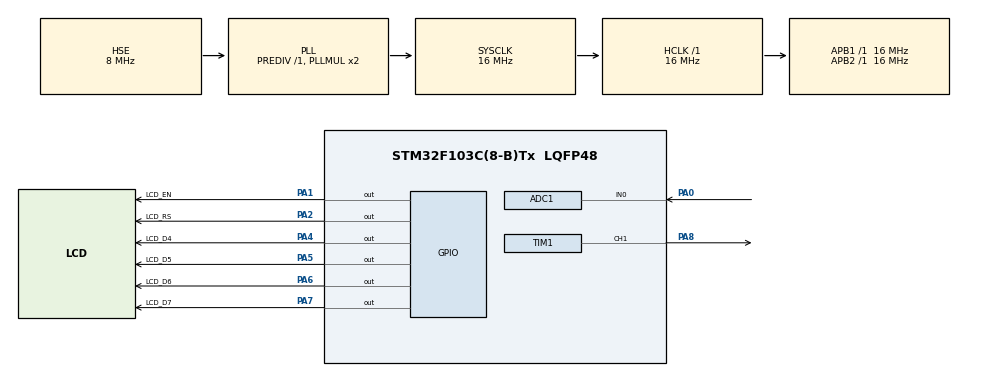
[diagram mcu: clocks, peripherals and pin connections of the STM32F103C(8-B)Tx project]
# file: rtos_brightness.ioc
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Mcu.Family=STM32F1
RCC.PLLSourceVirtual=RCC_PLLSOURCE_HSE
FREERTOS.Tasks01=adcRead,40,128,adc,Default,NULL,Dynamic,NULL,NULL;ledBrightness,24,128,brightness,Default,NULL,Dynamic,NULL,NULL;showDisplay,24,128,show,Default,NULL,Dynamic,NULL,NULL
PD1-OSC_OUT.Mode=HSE-External-Oscillator
PA6.GPIO_Label=LCD_D6
PD0-OSC_IN.Signal=RCC_OSC_IN
ADC1.SamplingTime-2\#ChannelRegularConversion=ADC_SAMPLETIME_1CYCLE_5
RCC.SYSCLKSource=RCC_SYSCLKSOURCE_PLLCLK
ProjectManager.StackSize=0x400
PA0-WKUP.Signal=ADCx_IN0
VP_FREERTOS_VS_CMSIS_V2.Mode=CMSIS_V2
PD1-OSC_OUT.Signal=RCC_OSC_OUT
PA13.Signal=SYS_JTMS-SWDIO
SH.S_TIM1_CH1.0=TIM1_CH1,PWM Generation1 CH1
ProjectManager.TargetToolchain=STM32CubeIDE
RCC.HCLKFreq_Value=16000000
RCC.APB2TimFreq_Value=16000000
ADC1.Channel-2\#ChannelRegularConversion=ADC_CHANNEL_0
RCC.USBFreq_Value=16000000
PA1.Signal=GPIO_Output
RCC.AHBFreq_Value=16000000
PD0-OSC_IN.Mode=HSE-External-Oscillator
PA5.Signal=GPIO_Output
board=custom
RCC.APB2Freq_Value=16000000
ADC1.Rank-2\#ChannelRegularConversion=1
TIM1.Channel-PWM\ Generation1\ CH1=TIM_CHANNEL_1
PA14.Mode=Serial_Wire
PA1.GPIO_Label=LCD_EN
PA8.Signal=S_TIM1_CH1
SH.ADCx_IN0.0=ADC1_IN0,IN0
PA13.Mode=Serial_Wire
Mcu.Name=STM32F103C(8-B)Tx
PA2.Signal=GPIO_Output
PA4.Signal=GPIO_Output
RCC.SYSCLKFreq_VALUE=16000000
Mcu.Package=LQFP48
PA6.Signal=GPIO_Output
PA7.GPIO_Label=LCD_D7
ADC1.master=1
NVIC.TimeBase=TIM4_IRQn
PA5.GPIO_Label=LCD_D5
PA2.GPIO_Label=LCD_RS
NVIC.TimeBaseIP=TIM4
PA14.Signal=SYS_JTCK-SWCLK
ProjectManager.HeapSize=0x200
VP_SYS_VS_tim4.Mode=TIM4
NVIC.PriorityGroup=NVIC_PRIORITYGROUP_4
ADC1.NbrOfConversionFlag=1
RCC.APB1TimFreq_Value=16000000
NVIC.TIM4_IRQn=true\:0\:0\:false\:false\:true\:false\:false\:true
RCC.APB1Freq_Value=16000000
PA4.GPIO_Label=LCD_D4
PA7.Signal=GPIO_Output

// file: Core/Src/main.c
/* USER CODE BEGIN Header */
/**
  ******************************************************************************
  * @file           : main.c
  * @brief          : Main program body
  ******************************************************************************
  * @attention
  *
  * <h2><center>&copy; Copyright (c) 2021 STMicroelectronics.
  * All rights reserved.</center></h2>
  *
  * This software component is licensed by ST under BSD 3-Clause license,
  * the "License"; You may not use this file except in compliance with the
  * License. You may obtain a copy of the License at:
  *                        opensource.org/licenses/BSD-3-Clause
  *
  ******************************************************************************
  */
/* USER CODE END Header */
#include "main.h"
#include "cmsis_os.h"
#include "LCD.H"
#include "stdio.h"

uint16_t adcVal;

ADC_HandleTypeDef hadc1;

TIM_HandleTypeDef htim1;

/* Definitions for adcRead */
osThreadId_t adcReadHandle;
const osThreadAttr_t adcRead_attributes = {
  .name = "adcRead",
  .stack_size = 128 * 4,
  .priority = (osPriority_t) osPriorityHigh,
};
/* Definitions for ledBrightness */
osThreadId_t ledBrightnessHandle;
const osThreadAttr_t ledBrightness_attributes = {
  .name = "ledBrightness",
  .stack_size = 128 * 4,
  .priority = (osPriority_t) osPriorityNormal,
};
/* Definitions for showDisplay */
osThreadId_t showDisplayHandle;
const osThreadAttr_t showDisplay_attributes = {
  .name = "showDisplay",
  .stack_size = 128 * 4,
  .priority = (osPriority_t) osPriorityNormal,
};

void SystemClock_Config(void);
static void MX_GPIO_Init(void);
static void MX_ADC1_Init(void);
static void MX_TIM1_Init(void);
void adc(void *argument);
void brightness(void *argument);
void show(void *argument);

int main(void)
{

  /* MCU Configuration--------------------------------------------------------*/

  /* Reset of all peripherals, Initializes the Flash interface and the Systick. */
  HAL_Init();

  /* Configure the system clock */
  SystemClock_Config();

  /* Initialize all configured peripherals */
  MX_GPIO_Init();
  MX_ADC1_Init();
  MX_TIM1_Init();

  /* Init scheduler */
  osKernelInitialize();

  /* Create the thread(s) */
  /* creation of adcRead */
  adcReadHandle = osThreadNew(adc, NULL, &adcRead_attributes);

  /* creation of ledBrightness */
  ledBrightnessHandle = osThreadNew(brightness, NULL, &ledBrightness_attributes);

  /* creation of showDisplay */
  showDisplayHandle = osThreadNew(show, NULL, &showDisplay_attributes);

  /* Start scheduler */
  osKernelStart();

  /* We should never get here as control is now taken by the scheduler */
  /* Infinite loop */
  while (1)
  {

  }
}

void SystemClock_Config(void)
{
  RCC_OscInitTypeDef RCC_OscInitStruct = {0};
  RCC_ClkInitTypeDef RCC_ClkInitStruct = {0};
  RCC_PeriphCLKInitTypeDef PeriphClkInit = {0};

  /** Initializes the RCC Oscillators according to the specified parameters
  * in the RCC_OscInitTypeDef structure.
  */
  RCC_OscInitStruct.OscillatorType = RCC_OSCILLATORTYPE_HSE;
  RCC_OscInitStruct.HSEState = RCC_HSE_ON;
  RCC_OscInitStruct.HSEPredivValue = RCC_HSE_PREDIV_DIV1;
  RCC_OscInitStruct.HSIState = RCC_HSI_ON;
  RCC_OscInitStruct.PLL.PLLState = RCC_PLL_ON;
  RCC_OscInitStruct.PLL.PLLSource = RCC_PLLSOURCE_HSE;
  RCC_OscInitStruct.PLL.PLLMUL = RCC_PLL_MUL2;
  if (HAL_RCC_OscConfig(&RCC_OscInitStruct) != HAL_OK)
  {
    Error_Handler();
  }
  /** Initializes the CPU, AHB and APB buses clocks
  */
  RCC_ClkInitStruct.ClockType = RCC_CLOCKTYPE_HCLK|RCC_CLOCKTYPE_SYSCLK
                              |RCC_CLOCKTYPE_PCLK1|RCC_CLOCKTYPE_PCLK2;
  RCC_ClkInitStruct.SYSCLKSource = RCC_SYSCLKSOURCE_PLLCLK;
  RCC_ClkInitStruct.AHBCLKDivider = RCC_SYSCLK_DIV1;
  RCC_ClkInitStruct.APB1CLKDivider = RCC_HCLK_DIV1;
  RCC_ClkInitStruct.APB2CLKDivider = RCC_HCLK_DIV1;

  if (HAL_RCC_ClockConfig(&RCC_ClkInitStruct, FLASH_LATENCY_0) != HAL_OK)
  {
    Error_Handler();
  }
  PeriphClkInit.PeriphClockSelection = RCC_PERIPHCLK_ADC;
  PeriphClkInit.AdcClockSelection = RCC_ADCPCLK2_DIV2;
  if (HAL_RCCEx_PeriphCLKConfig(&PeriphClkInit) != HAL_OK)
  {
    Error_Handler();
  }
}

static void MX_ADC1_Init(void)
{

  ADC_ChannelConfTypeDef sConfig = {0};

  /** Common config
  */
  hadc1.Instance = ADC1;
  hadc1.Init.ScanConvMode = ADC_SCAN_DISABLE;
  hadc1.Init.ContinuousConvMode = DISABLE;
  hadc1.Init.DiscontinuousConvMode = DISABLE;
  hadc1.Init.ExternalTrigConv = ADC_SOFTWARE_START;
  hadc1.Init.DataAlign = ADC_DATAALIGN_RIGHT;
  hadc1.Init.NbrOfConversion = 1;
  if (HAL_ADC_Init(&hadc1) != HAL_OK)
  {
    Error_Handler();
  }
  /** Configure Regular Channel
  */
  sConfig.Channel = ADC_CHANNEL_0;
  sConfig.Rank = ADC_REGULAR_RANK_1;
  sConfig.SamplingTime = ADC_SAMPLETIME_1CYCLE_5;
  if (HAL_ADC_ConfigChannel(&hadc1, &sConfig) != HAL_OK)
  {
    Error_Handler();
  }

}

static void MX_TIM1_Init(void)
{

  TIM_MasterConfigTypeDef sMasterConfig = {0};
  TIM_OC_InitTypeDef sConfigOC = {0};
  TIM_BreakDeadTimeConfigTypeDef sBreakDeadTimeConfig = {0};

  htim1.Instance = TIM1;
  htim1.Init.Prescaler = 0;
  htim1.Init.CounterMode = TIM_COUNTERMODE_UP;
  htim1.Init.Period = 65535;
  htim1.Init.ClockDivision = TIM_CLOCKDIVISION_DIV1;
  htim1.Init.RepetitionCounter = 0;
  htim1.Init.AutoReloadPreload = TIM_AUTORELOAD_PRELOAD_DISABLE;
  if (HAL_TIM_PWM_Init(&htim1) != HAL_OK)
  {
    Error_Handler();
  }
  sMasterConfig.MasterOutputTrigger = TIM_TRGO_RESET;
  sMasterConfig.MasterSlaveMode = TIM_MASTERSLAVEMODE_DISABLE;
  if (HAL_TIMEx_MasterConfigSynchronization(&htim1, &sMasterConfig) != HAL_OK)
  {
    Error_Handler();
  }
  sConfigOC.OCMode = TIM_OCMODE_PWM1;
  sConfigOC.Pulse = 0;
  sConfigOC.OCPolarity = TIM_OCPOLARITY_HIGH;
  sConfigOC.OCNPolarity = TIM_OCNPOLARITY_HIGH;
  sConfigOC.OCFastMode = TIM_OCFAST_DISABLE;
  sConfigOC.OCIdleState = TIM_OCIDLESTATE_RESET;
  sConfigOC.OCNIdleState = TIM_OCNIDLESTATE_RESET;
  if (HAL_TIM_PWM_ConfigChannel(&htim1, &sConfigOC, TIM_CHANNEL_1) != HAL_OK)
  {
    Error_Handler();
  }
  sBreakDeadTimeConfig.OffStateRunMode = TIM_OSSR_DISABLE;
  sBreakDeadTimeConfig.OffStateIDLEMode = TIM_OSSI_DISABLE;
  sBreakDeadTimeConfig.LockLevel = TIM_LOCKLEVEL_OFF;
  sBreakDeadTimeConfig.DeadTime = 0;
  sBreakDeadTimeConfig.BreakState = TIM_BREAK_DISABLE;
  sBreakDeadTimeConfig.BreakPolarity = TIM_BREAKPOLARITY_HIGH;
  sBreakDeadTimeConfig.AutomaticOutput = TIM_AUTOMATICOUTPUT_DISABLE;
  if (HAL_TIMEx_ConfigBreakDeadTime(&htim1, &sBreakDeadTimeConfig) != HAL_OK)
  {
    Error_Handler();
  }
  HAL_TIM_MspPostInit(&htim1);

}

static void MX_GPIO_Init(void)
{
  GPIO_InitTypeDef GPIO_InitStruct = {0};

  /* GPIO Ports Clock Enable */
  __HAL_RCC_GPIOD_CLK_ENABLE();
  __HAL_RCC_GPIOA_CLK_ENABLE();

  /*Configure GPIO pin Output Level */
  HAL_GPIO_WritePin(GPIOA, LCD_EN_Pin|LCD_RS_Pin|LCD_D4_Pin|LCD_D5_Pin
                          |LCD_D6_Pin|LCD_D7_Pin, GPIO_PIN_RESET);

  /*Configure GPIO pins : LCD_EN_Pin LCD_RS_Pin LCD_D4_Pin LCD_D5_Pin
                           LCD_D6_Pin LCD_D7_Pin */
  GPIO_InitStruct.Pin = LCD_EN_Pin|LCD_RS_Pin|LCD_D4_Pin|LCD_D5_Pin
                          |LCD_D6_Pin|LCD_D7_Pin;
  GPIO_InitStruct.Mode = GPIO_MODE_OUTPUT_PP;
  GPIO_InitStruct.Pull = GPIO_NOPULL;
  GPIO_InitStruct.Speed = GPIO_SPEED_FREQ_LOW;
  HAL_GPIO_Init(GPIOA, &GPIO_InitStruct);

}

void adc(void *argument) // en yüksek önceliği buna verdim çünkü diğer işlemler buna bağlı çalışıyor.
{
  /* USER CODE BEGIN 5 */
  /* Infinite loop */
  for(;;)
  {
	  HAL_ADC_Start(&hadc1);
	  HAL_ADC_PollForConversion(&hadc1, 1000);
	  adcVal = HAL_ADC_GetValue(&hadc1);
	  HAL_ADC_Stop(&hadc1);
	  osDelay(1);
  }
  /* USER CODE END 5 */
}

void brightness(void *argument) //led parlaklığı ayarlama ve ekrana bastırmayı aynı öncelikte yaptım çünkü bunlar hemen hemen eş zamanlı olan işlemler ve birbirlerinden bağımsızlar.
{
  /* USER CODE BEGIN brightness */
	HAL_TIM_PWM_Start(&htim1, TIM_CHANNEL_1);
  /* Infinite loop */
  for(;;)
  {
	__HAL_TIM_SET_COMPARE(&htim1, TIM_CHANNEL_1, adcVal);

    osDelay(1);
  }
  /* USER CODE END brightness */
}

void show(void *argument) //led parlaklığı ayarlama ve ekrana bastırmayı aynı öncelikte yaptım çünkü bunlar hemen hemen eş zamanlı olan işlemler ve birbirlerinden bağımsızlar.
{
  /* USER CODE BEGIN show */
	lcd_init(_LCD_4BIT, _LCD_FONT_5x8, _LCD_2LINE);
	char val[16] = " ";
	int map;

  /* Infinite loop */
  for(;;)
  {
	  	uint16_t map(int In ,int InMin , int InMax , int OutMin , int OutMax ){
		return (In - InMin) * (OutMax - OutMin) / (InMax - InMin) + OutMin;
	}
	mapped =map(adcVal, 0, 2048, 0, 9) ;
	lcd_print(1, 1, "İTÜ RAKE");
	sprintf(val,"%d",mapped);
	lcd_print(2, 1, val);
	lcd_clear();
    osDelay(1);
  }
  /* USER CODE END show */
}

 /**
  * @brief  Period elapsed callback in non blocking mode
  * @note   This function is called  when TIM4 interrupt took place, inside
  * HAL_TIM_IRQHandler(). It makes a direct call to HAL_IncTick() to increment
  * a global variable "uwTick" used as application time base.
  * @param  htim : TIM handle
  * @retval None
  */
void HAL_TIM_PeriodElapsedCallback(TIM_HandleTypeDef *htim)
{
  if (htim->Instance == TIM4) {
    HAL_IncTick();
  }
}

void Error_Handler(void)
{
  __disable_irq();
  while (1)
  {
  }
}

/************************ (C) COPYRIGHT STMicroelectronics *****END OF FILE****/
